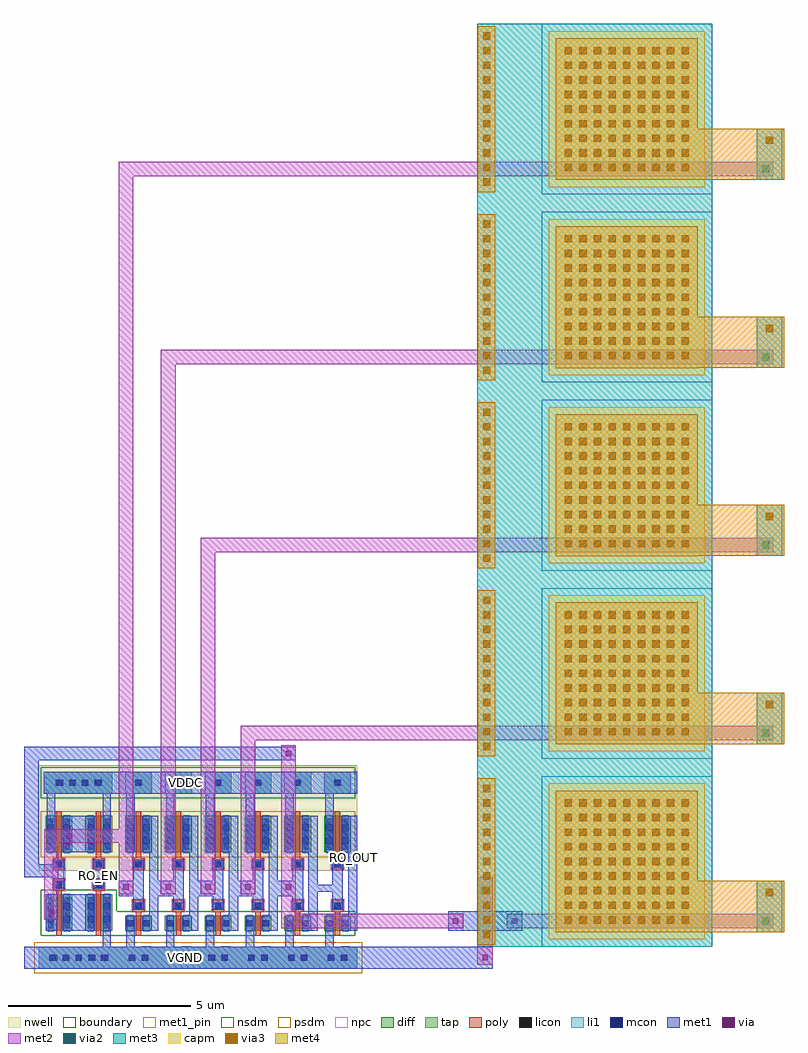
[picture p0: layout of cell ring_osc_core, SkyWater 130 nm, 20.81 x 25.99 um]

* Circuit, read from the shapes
.subckt ring_osc_core RO_EN RO_OUT VDDC VGND
XM1 ro_nand_10/sky130_fd_pr__nfet_01v8_7QQFQW_1/D ro_inv_5/A ro_inv_11/A VGND sky130_fd_pr__nfet_01v8 w=1 l=0.15
XM2 VGND RO_EN ro_nand_10/sky130_fd_pr__nfet_01v8_7QQFQW_1/D VGND sky130_fd_pr__nfet_01v8 w=1 l=0.15
XM3 ro_inv_8/A ro_inv_11/A VGND VGND sky130_fd_pr__nfet_01v8 w=0.42 l=0.15
XM4 ro_inv_7/A ro_inv_8/A VGND VGND sky130_fd_pr__nfet_01v8 w=0.42 l=0.15
XM5 ro_inv_6/A ro_inv_7/A VGND VGND sky130_fd_pr__nfet_01v8 w=0.42 l=0.15
XM6 ro_inv_5/A ro_inv_6/A VGND VGND sky130_fd_pr__nfet_01v8 w=0.42 l=0.15
XM7 ro_inv_4/A ro_inv_5/A VGND VGND sky130_fd_pr__nfet_01v8 w=0.42 l=0.15
XM8 RO_OUT ro_inv_4/A VGND VGND sky130_fd_pr__nfet_01v8 w=0.42 l=0.15
XM9 ro_inv_11/A ro_inv_5/A VDDC VDDC sky130_fd_pr__pfet_01v8 w=1 l=0.15
XM10 VDDC RO_EN ro_inv_11/A VDDC sky130_fd_pr__pfet_01v8 w=1 l=0.15
XM11 ro_inv_8/A ro_inv_11/A VDDC VDDC sky130_fd_pr__pfet_01v8 w=1 l=0.15
XM12 ro_inv_7/A ro_inv_8/A VDDC VDDC sky130_fd_pr__pfet_01v8 w=1 l=0.15
XM13 ro_inv_6/A ro_inv_7/A VDDC VDDC sky130_fd_pr__pfet_01v8 w=1 l=0.15
XM14 ro_inv_5/A ro_inv_6/A VDDC VDDC sky130_fd_pr__pfet_01v8 w=1 l=0.15
XM15 ro_inv_4/A ro_inv_5/A VDDC VDDC sky130_fd_pr__pfet_01v8 w=1 l=0.15
XM16 RO_OUT ro_inv_4/A VDDC VDDC sky130_fd_pr__pfet_01v8 w=1 l=0.15
XC17 ro_inv_5/A VGND sky130_fd_pr__cap_mim_m3_1 w=4.27 l=4.27
XC18 ro_inv_6/A VGND sky130_fd_pr__cap_mim_m3_1 w=4.27 l=4.27
XC19 ro_inv_7/A VGND sky130_fd_pr__cap_mim_m3_1 w=4.27 l=4.27
XC20 ro_inv_8/A VGND sky130_fd_pr__cap_mim_m3_1 w=4.27 l=4.27
XC21 ro_inv_11/A VGND sky130_fd_pr__cap_mim_m3_1 w=4.27 l=4.27
.ends

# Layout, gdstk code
from math import pi, radians
import gdstk
lib = gdstk.Library(unit=1e-6, precision=1e-09)
def R(c, l, rs):  # rectangles x0, y0, x1, y1
    for r in rs: c.add(gdstk.rectangle(r[:2], r[2:], *l))
def A(c, l, x, y, w, h, nx, ny, dx, dy):  # array of equal rectangles
    R(c, l, [(x+i*dx, y+j*dy, x+i*dx+w, y+j*dy+h) for i in range(nx) for j in range(ny)])
nwell = (64, 20)
diff = (65, 20)
tap = (65, 44)
poly = (66, 20)
licon = (66, 44)
li1 = (67, 20)
mcon = (67, 44)
met1_pin = (68, 16)
met1 = (68, 20)
via = (68, 44)
met2 = (69, 20)
via2 = (69, 44)
met3 = (70, 20)
via3 = (70, 44)
met4 = (71, 20)
capm = (89, 44)
nsdm = (93, 44)
psdm = (94, 20)
npc = (95, 20)
boundary = (235, 4)

sky130_fd_pr__cap_mim_m3 = lib.new_cell('sky130_fd_pr__cap_mim_m3_1_AS8DMT')
R(sky130_fd_pr__cap_mim_m3, met3, [(-3.215,-2.335,3.215,2.335)])
A(sky130_fd_pr__cap_mim_m3, via3, 2.855, -2.1, 0.2, 0.2, 1, 11, 0, 0.4)
A(sky130_fd_pr__cap_mim_m3, via3, -2.58, -1.7, 0.2, 0.2, 9, 9, 0.4, 0.4)
R(sky130_fd_pr__cap_mim_m3, met4, [(2.715,-2.275,3.195,2.275), (-2.82,-1.94,1.06,1.94)])
R(sky130_fd_pr__cap_mim_m3, capm, [(-3.015,-2.135,1.255,2.135)])
R(sky130_fd_pr__cap_mim_m3, boundary, [(-3.215,-2.335,1.455,2.335)])
sky130_fd_pr__cap_mim_m3.add(gdstk.Label('C1', (-0.88,0), layer=71, texttype=5))
sky130_fd_pr__cap_mim_m3.add(gdstk.Label('C2', (2.955,0), layer=71, texttype=5))

sky130_fd_pr__nfet_01v8_ = lib.new_cell('sky130_fd_pr__nfet_01v8_AGPWC8')
R(sky130_fd_pr__nfet_01v8_, diff, [(-0.365,-0.365,0.365,0.055)])
R(sky130_fd_pr__nfet_01v8_, poly, [(-0.075,-0.495,0.075,0.165), (-0.165,0.165,0.165,0.495)])
R(sky130_fd_pr__nfet_01v8_, licon, [(-0.305,-0.24,-0.135,-0.07), (0.135,-0.24,0.305,-0.07), (-0.085,0.245,0.085,0.415)])
R(sky130_fd_pr__nfet_01v8_, li1, [(-0.305,-0.385,-0.135,0.075), (0.135,-0.385,0.305,0.075), (-0.165,0.245,0.165,0.415)])
R(sky130_fd_pr__nfet_01v8_, mcon, [(-0.305,-0.24,-0.135,-0.07), (0.135,-0.24,0.305,-0.07), (-0.085,0.245,0.085,0.415)])
R(sky130_fd_pr__nfet_01v8_, met1, [(-0.335,-0.365,-0.105,0.055), (0.105,-0.365,0.335,0.055), (-0.145,0.215,0.145,0.445)])
R(sky130_fd_pr__nfet_01v8_, nsdm, [(-0.49,-0.49,0.49,0.18)])
R(sky130_fd_pr__nfet_01v8_, npc, [(-0.185,0.145,0.185,0.515)])
sky130_fd_pr__nfet_01v8_.add(gdstk.Label('G', (0,0.33), layer=67, texttype=5))
sky130_fd_pr__nfet_01v8_.add(gdstk.Label('S', (0.22,-0.155), layer=67, texttype=5))
sky130_fd_pr__nfet_01v8_.add(gdstk.Label('D', (-0.22,-0.155), layer=67, texttype=5))

sky130_fd_pr__pfet_01v8_ = lib.new_cell('sky130_fd_pr__pfet_01v8_W5ZMD6')
R(sky130_fd_pr__pfet_01v8_, nwell, [(-0.545,-0.99,0.545,0.82)])
R(sky130_fd_pr__pfet_01v8_, diff, [(-0.365,-0.68,0.365,0.32)])
R(sky130_fd_pr__pfet_01v8_, poly, [(-0.075,-0.81,0.075,0.475), (-0.165,0.475,0.165,0.805)])
A(sky130_fd_pr__pfet_01v8_, licon, -0.305, -0.605, 0.17, 0.17, 1, 3, 0, 0.34)
A(sky130_fd_pr__pfet_01v8_, licon, 0.135, -0.605, 0.17, 0.17, 1, 3, 0, 0.34)
R(sky130_fd_pr__pfet_01v8_, licon, [(-0.085,0.555,0.085,0.725)])
R(sky130_fd_pr__pfet_01v8_, li1, [(-0.305,-0.7,-0.135,0.34), (0.135,-0.7,0.305,0.34), (-0.165,0.555,0.165,0.725)])
R(sky130_fd_pr__pfet_01v8_, mcon, [(-0.305,-0.445,-0.135,-0.275), (0.135,-0.445,0.305,-0.275), (-0.305,-0.085,-0.135,0.085), (0.135,-0.085,0.305,0.085), (-0.085,0.555,0.085,0.725)])
R(sky130_fd_pr__pfet_01v8_, met1, [(-0.335,-0.68,-0.105,0.32), (0.105,-0.68,0.335,0.32), (-0.145,0.525,0.145,0.755)])
R(sky130_fd_pr__pfet_01v8_, psdm, [(-0.49,-0.805,0.49,0.445)])
R(sky130_fd_pr__pfet_01v8_, npc, [(-0.185,0.455,0.185,0.825)])
sky130_fd_pr__pfet_01v8_.add(gdstk.Label('G', (0,0.64), layer=67, texttype=5))
sky130_fd_pr__pfet_01v8_.add(gdstk.Label('S', (0.22,-0.18), layer=67, texttype=5))
sky130_fd_pr__pfet_01v8_.add(gdstk.Label('D', (-0.22,-0.18), layer=67, texttype=5))

ro_inv = lib.new_cell('ro_inv')
R(ro_inv, nwell, [(0,2.68,1.09,5.57)])
R(ro_inv, tap, [(0,0,1.09,0.6), (0.18,4.79,0.91,5.39)])
R(ro_inv, licon, [(0.29,0.215,0.46,0.385), (0.63,0.215,0.8,0.385), (0.46,5.005,0.63,5.175)])
R(ro_inv, li1, [(0,0,1.09,0.6), (0.18,4.79,0.91,5.39)])
R(ro_inv, mcon, [(0.28,0.215,0.45,0.385), (0.64,0.215,0.81,0.385), (0.46,5.005,0.63,5.175)])
R(ro_inv, met1_pin, [(0.3,0.29,0.31,0.3), (0.1,2.19,0.11,2.2), (0.95,2.6,0.96,2.61), (0.3,5.08,0.31,5.09)])
R(ro_inv, met1, [(0,0,1.09,0.6), (0.21,0.6,0.44,1.45), (0.65,0.6,0.88,0.61), (0.84,1.03,1.09,4.18), (0.4,1.61,0.69,2.1), (0,2.1,0.69,2.29), (0.4,2.29,0.69,2.975), (0.21,4.18,0.44,4.79), (0.18,4.79,0.91,5.39)])
R(ro_inv, nsdm, [(0.055,4.665,1.035,5.515)])
R(ro_inv, psdm, [(-0.125,-0.125,1.215,0.725)])
ro_inv.add(gdstk.Reference(sky130_fd_pr__nfet_01v8_, (0.545,1.395)))
ro_inv.add(gdstk.Reference(sky130_fd_pr__pfet_01v8_, (0.545,3.5), x_reflection=True))
ro_inv.add(gdstk.Label('VGND', (0.305,0.295), layer=68, texttype=5))
ro_inv.add(gdstk.Label('Y', (0.955,2.605), layer=68, texttype=5))
ro_inv.add(gdstk.Label('A', (0.105,2.195), layer=68, texttype=5))
ro_inv.add(gdstk.Label('VDDC', (0.305,5.085), layer=68, texttype=5))

c_sky130_fd_pr__nfet_01v8_ = lib.new_cell('sky130_fd_pr__nfet_01v8_7QQFQW')
R(c_sky130_fd_pr__nfet_01v8_, diff, [(-0.365,-0.655,0.365,0.345)])
R(c_sky130_fd_pr__nfet_01v8_, poly, [(-0.075,-0.785,0.075,0.455), (-0.165,0.455,0.165,0.785)])
A(c_sky130_fd_pr__nfet_01v8_, licon, -0.305, -0.58, 0.17, 0.17, 1, 3, 0, 0.34)
A(c_sky130_fd_pr__nfet_01v8_, licon, 0.135, -0.58, 0.17, 0.17, 1, 3, 0, 0.34)
R(c_sky130_fd_pr__nfet_01v8_, licon, [(-0.085,0.535,0.085,0.705)])
R(c_sky130_fd_pr__nfet_01v8_, li1, [(-0.305,-0.675,-0.135,0.365), (0.135,-0.675,0.305,0.365), (-0.165,0.535,0.165,0.705)])
R(c_sky130_fd_pr__nfet_01v8_, mcon, [(-0.305,-0.42,-0.135,-0.25), (0.135,-0.42,0.305,-0.25), (-0.305,-0.06,-0.135,0.11), (0.135,-0.06,0.305,0.11), (-0.085,0.535,0.085,0.705)])
R(c_sky130_fd_pr__nfet_01v8_, met1, [(-0.335,-0.655,-0.105,0.345), (0.105,-0.655,0.335,0.345), (-0.145,0.505,0.145,0.735)])
R(c_sky130_fd_pr__nfet_01v8_, nsdm, [(-0.49,-0.78,0.49,0.47)])
R(c_sky130_fd_pr__nfet_01v8_, npc, [(-0.185,0.435,0.185,0.805)])
c_sky130_fd_pr__nfet_01v8_.add(gdstk.Label('G', (0,0.62), layer=67, texttype=5))
c_sky130_fd_pr__nfet_01v8_.add(gdstk.Label('S', (0.22,-0.155), layer=67, texttype=5))
c_sky130_fd_pr__nfet_01v8_.add(gdstk.Label('D', (-0.22,-0.155), layer=67, texttype=5))

ro_nand = lib.new_cell('ro_nand')
R(ro_nand, nwell, [(0,2.68,2.18,5.57)])
R(ro_nand, tap, [(0,0,2.18,0.6), (0.18,4.79,2,5.39)])
A(ro_nand, licon, 0.325, 0.215, 0.17, 0.17, 5, 1, 0.34, 0)
A(ro_nand, licon, 0.495, 5.005, 0.17, 0.17, 4, 1, 0.34, 0)
R(ro_nand, li1, [(0,0,2.18,0.6), (0.18,4.79,2,5.39)])
A(ro_nand, mcon, 0.285, 0.215, 0.17, 0.17, 5, 1, 0.36, 0)
A(ro_nand, mcon, 0.465, 5.005, 0.17, 0.17, 4, 1, 0.36, 0)
R(ro_nand, met1_pin, [(1,0.29,1.01,0.3), (0.61,2.55,0.62,2.56), (1.6,2.55,1.61,2.56), (1.2,3.7,1.21,3.71), (1,5.08,1.01,5.09)])
R(ro_nand, met1, [(0,0,2.18,0.6), (1.74,0.6,1.97,1.03), (0.18,1.03,0.5,2.03), (0.65,1.03,1.53,2.03), (0.4,2.19,0.69,2.975), (1.49,2.19,1.78,2.975), (0.65,3.18,1.53,4.18), (0.21,4.18,0.44,4.79), (1.74,4.18,1.97,4.79), (0.18,4.79,2,5.39)])
R(ro_nand, via, [(0.265,1.455,0.415,1.605), (0.755,3.555,0.905,3.705)])
R(ro_nand, met2, [(0.15,1.34,0.53,3.44), (0.15,3.44,1.02,3.82)])
R(ro_nand, nsdm, [(1.035,0.905,1.145,2.155), (0.055,4.665,2.125,5.515)])
R(ro_nand, psdm, [(-0.125,-0.125,2.305,0.725), (1.035,3.055,1.145,4.305)])
R(ro_nand, npc, [(0.36,2.49,0.73,2.675), (1.45,2.49,1.82,2.675)])
ro_nand.add(gdstk.Reference(c_sky130_fd_pr__nfet_01v8_, (0.545,1.685)))
ro_nand.add(gdstk.Reference(c_sky130_fd_pr__nfet_01v8_, (1.635,1.685)))
ro_nand.add(gdstk.Reference(sky130_fd_pr__pfet_01v8_, (0.545,3.5), rotation=pi))
ro_nand.add(gdstk.Reference(sky130_fd_pr__pfet_01v8_, (1.635,3.5), x_reflection=True))
ro_nand.add(gdstk.Label('VGND', (1.005,0.295), layer=68, texttype=5))
ro_nand.add(gdstk.Label('Y', (1.205,3.705), layer=68, texttype=5))
ro_nand.add(gdstk.Label('B', (1.605,2.555), layer=68, texttype=5))
ro_nand.add(gdstk.Label('A', (0.615,2.555), layer=68, texttype=5))
ro_nand.add(gdstk.Label('VDDC', (1.005,5.085), layer=68, texttype=5))

ring_osc_core = lib.new_cell('ring_osc_core')
R(ring_osc_core, met1_pin, [(4,0.29,4.01,0.3), (1.63,2.54,1.64,2.55), (8.6,3.04,8.61,3.05), (4,5.08,4.01,5.09)])
A(ring_osc_core, met1, 2.18, 1.98, 0.69, 0.42, 5, 1, 1.09, 0)
R(ring_osc_core, met1, [(-0.41,0,12.43,0.6), (11.2,1.03,13.23,1.57), (1.53,2.4,1.74,2.7), (-0.41,2.5,0.4,2.86), (-0.41,2.86,-0.01,5.7), (8.5,2.9,8.7,3.2), (0.13,4.79,8.72,5.39), (-0.41,5.7,7.03,6.08)])
A(ring_osc_core, via, 3.465, 2.155, 0.15, 0.15, 3, 1, 1.09, 0)
R(ring_osc_core, via, [(12.145,0.225,12.295,0.375), (11.335,1.225,11.485,1.375), (12.945,1.225,13.095,1.375), (2.305,2.155,2.455,2.305), (6.755,2.155,6.905,2.305), (6.755,5.815,6.905,5.965)])
R(ring_osc_core, met2, [(12,0.1,12.43,2.5), (6.63,1.1,11.62,1.5), (12.81,1.1,20.1,1.5), (6.63,1.5,7.03,6.11), (2.18,2.04,2.58,3.44), (3.34,2.04,3.74,16.55), (4.43,2.04,4.83,11.4), (5.52,2.04,5.92,6.25), (0.9,3.44,2.58,3.82), (2.18,3.82,2.58,21.7), (5.52,6.25,20.1,6.65), (4.43,11.4,20.1,11.8), (3.34,16.55,20.1,16.95), (2.18,21.7,20.1,22.1)])
A(ring_osc_core, via2, 19.8, 1.2, 0.2, 0.2, 1, 5, 0, 5.15)
R(ring_osc_core, via2, [(12.115,2.04,12.315,2.24)])
A(ring_osc_core, met3, 19.65, 1, 0.7, 1.4, 1, 5, 0, 5.15)
A(ring_osc_core, met3, 12, 5.27, 6.43, 0.48, 1, 4, 0, 5.15)
A(ring_osc_core, met3, 12, 5.75, 0.43, 4.67, 1, 4, 0, 5.15)
R(ring_osc_core, met3, [(12,1.85,12.43,5.27)])
A(ring_osc_core, via3, 19.9, 1.98, 0.2, 0.2, 1, 5, 0, 5.15)
A(ring_osc_core, met4, 18.03, 1, 2.37, 1.4, 1, 5, 0, 5.15)
A(ring_osc_core, nsdm, 2.125, 0.905, 0.11, 0.67, 6, 1, 1.09, 0)
A(ring_osc_core, nsdm, 2.125, 4.665, 0.11, 0.85, 6, 1, 1.09, 0)
A(ring_osc_core, psdm, 2.125, 3.055, 0.11, 1.25, 6, 1, 1.09, 0)
ring_osc_core.add(gdstk.Reference(sky130_fd_pr__cap_mim_m3, (15.215,18.385), rotation=pi, x_reflection=True))
ring_osc_core.add(gdstk.Reference(sky130_fd_pr__cap_mim_m3, (15.215,13.235), rotation=pi, x_reflection=True))
ring_osc_core.add(gdstk.Reference(sky130_fd_pr__cap_mim_m3, (15.215,8.085), rotation=pi, x_reflection=True))
ring_osc_core.add(gdstk.Reference(sky130_fd_pr__cap_mim_m3, (15.215,2.935), rotation=pi, x_reflection=True))
ring_osc_core.add(gdstk.Reference(ro_inv, (7.63,0)))
ring_osc_core.add(gdstk.Reference(ro_inv, (6.54,0)))
ring_osc_core.add(gdstk.Reference(ro_inv, (5.45,0)))
ring_osc_core.add(gdstk.Reference(ro_inv, (4.36,0)))
ring_osc_core.add(gdstk.Reference(ro_inv, (3.27,0)))
ring_osc_core.add(gdstk.Reference(sky130_fd_pr__cap_mim_m3, (15.215,23.535), rotation=pi, x_reflection=True))
ring_osc_core.add(gdstk.Reference(ro_nand, (0,0)))
ring_osc_core.add(gdstk.Reference(ro_inv, (2.18,0)))
ring_osc_core.add(gdstk.Label('RO_OUT', (8.605,3.045), layer=68, texttype=5))
ring_osc_core.add(gdstk.Label('VGND', (4.005,0.295), layer=68, texttype=5))
ring_osc_core.add(gdstk.Label('RO_EN', (1.635,2.545), layer=68, texttype=5))
ring_osc_core.add(gdstk.Label('VDDC', (4.005,5.085), layer=68, texttype=5))

lib.write_gds('ring_osc_core.gds')
